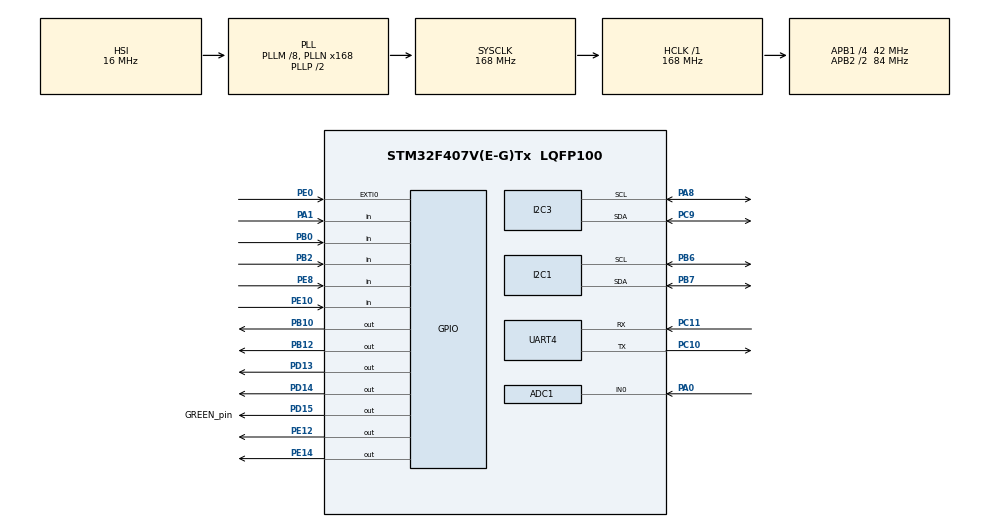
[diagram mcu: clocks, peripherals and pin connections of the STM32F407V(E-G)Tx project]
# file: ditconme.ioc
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ADC1.Channel-0\#ChannelRegularConversion=ADC_CHANNEL_0
ADC1.ContinuousConvMode=ENABLE
ADC1.NbrOfConversionFlag=1
ADC1.Rank-0\#ChannelRegularConversion=1
ADC1.SamplingTime-0\#ChannelRegularConversion=ADC_SAMPLETIME_144CYCLES
ADC1.master=1
Mcu.Family=STM32F4
Mcu.Name=STM32F407V(E-G)Tx
Mcu.Package=LQFP100
NVIC.ADC_IRQn=true\:0\:0\:false\:false\:true\:true\:true
NVIC.EXTI0_IRQn=true\:1\:0\:true\:false\:true\:true\:true
NVIC.PriorityGroup=NVIC_PRIORITYGROUP_4
NVIC.UART4_IRQn=true\:0\:0\:false\:false\:true\:true\:true
PA0-WKUP.Signal=ADCx_IN0
PA1.Signal=GPIO_Input
PA13.Mode=Serial_Wire
PA13.Signal=SYS_JTMS-SWDIO
PA14.Mode=Serial_Wire
PA14.Signal=SYS_JTCK-SWCLK
PA8.Mode=I2C
PA8.Signal=I2C3_SCL
PB0.GPIO_Mode=GPIO_MODE_INPUT
PB0.GPIO_PuPd=GPIO_PULLUP
PB0.Signal=GPIO_Input
PB10.GPIO_ModeDefaultOutputPP=GPIO_MODE_OUTPUT_PP
PB10.GPIO_PuPd=GPIO_NOPULL
PB10.GPIO_Speed=GPIO_SPEED_FREQ_LOW
PB10.PinState=GPIO_PIN_SET
PB10.Signal=GPIO_Output
PB12.GPIO_ModeDefaultOutputPP=GPIO_MODE_OUTPUT_PP
PB12.GPIO_PuPd=GPIO_NOPULL
PB12.GPIO_Speed=GPIO_SPEED_FREQ_LOW
PB12.PinState=GPIO_PIN_SET
PB12.Signal=GPIO_Output
PB2.GPIO_Mode=GPIO_MODE_INPUT
PB2.GPIO_PuPd=GPIO_PULLUP
PB2.Signal=GPIO_Input
PB6.Mode=I2C
PB6.Signal=I2C1_SCL
PB7.Mode=I2C
PB7.Signal=I2C1_SDA
PC10.Mode=Asynchronous
PC10.Signal=UART4_TX
PC11.Mode=Asynchronous
PC11.Signal=UART4_RX
PC9.Mode=I2C
PC9.Signal=I2C3_SDA
PD13.Signal=GPIO_Output
PD14.Signal=GPIO_Output
PD15.GPIO_Label=GREEN_pin
PD15.Signal=GPIO_Output
PE0.Signal=GPXTI0
PE10.GPIO_Mode=GPIO_MODE_INPUT
PE10.GPIO_PuPd=GPIO_PULLUP
PE10.Signal=GPIO_Input
PE12.GPIO_ModeDefaultOutputPP=GPIO_MODE_OUTPUT_PP
PE12.GPIO_PuPd=GPIO_NOPULL
PE12.GPIO_Speed=GPIO_SPEED_FREQ_LOW
PE12.PinState=GPIO_PIN_SET
PE12.Signal=GPIO_Output
PE14.GPIO_ModeDefaultOutputPP=GPIO_MODE_OUTPUT_PP
PE14.GPIO_PuPd=GPIO_NOPULL
PE14.GPIO_Speed=GPIO_SPEED_FREQ_LOW
PE14.PinState=GPIO_PIN_SET
PE14.Signal=GPIO_Output
PE8.GPIO_Mode=GPIO_MODE_INPUT
PE8.GPIO_PuPd=GPIO_PULLUP
PE8.Signal=GPIO_Input
PH0-OSC_IN.Mode=HSE-External-Oscillator
PH0-OSC_IN.Signal=RCC_OSC_IN
PH1-OSC_OUT.Mode=HSE-External-Oscillator
PH1-OSC_OUT.Signal=RCC_OSC_OUT
ProjectManager.HeapSize=0x200
ProjectManager.StackSize=0x400
ProjectManager.TargetToolchain=MDK-ARM V5
RCC.48MHZClocksFreq_Value=84000000
RCC.AHBFreq_Value=168000000
RCC.APB1CLKDivider=RCC_HCLK_DIV4
RCC.APB1Freq_Value=42000000
RCC.APB1TimFreq_Value=84000000
RCC.APB2CLKDivider=RCC_HCLK_DIV2
RCC.APB2Freq_Value=84000000
RCC.APB2TimFreq_Value=168000000
RCC.CortexFreq_Value=168000000
RCC.HCLKFreq_Value=168000000
RCC.HSE_VALUE=8000000
RCC.HSI_VALUE=16000000
RCC.LSE_VALUE=32768
RCC.PLLM=8
RCC.PLLN=168
RCC.SYSCLKFreq_VALUE=168000000
RCC.SYSCLKSource=RCC_SYSCLKSOURCE_PLLCLK
RCC.VCOOutputFreq_Value=336000000
SH.ADCx_IN0.0=ADC1_IN0,IN0
UART4.VirtualMode=Asynchronous
board=custom

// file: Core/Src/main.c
/* USER CODE BEGIN Header */
/**
  ******************************************************************************
  * @file           : main.c
  * @brief          : Main program body
  ******************************************************************************
  * @attention
  *
  * <h2><center>&copy; Copyright (c) 2024 STMicroelectronics.
  * All rights reserved.</center></h2>
  *
  * This software component is licensed by ST under BSD 3-Clause license,
  * the "License"; You may not use this file except in compliance with the
  * License. You may obtain a copy of the License at:
  *                        opensource.org/licenses/BSD-3-Clause
  *
  ******************************************************************************
  */
/* USER CODE END Header */
#include "main.h"

/* USER CODE BEGIN Includes */
#include "stdio.h"
#include "string.h"
#define device_id 0x27<<1
int DHT11_check = 1; // Kiem tra, khoi tao qua trinh doc, setup = 1
uint8_t do_am_byte1, do_am_byte2, temperature_byte1, temperature_byte2; // Luu tru du lieu doc tu DHT11
uint16_t sum; //, temperature, humidity, temperature_sau_dau_phay, humidity_sau_dau_phay; // temperature, humidity co 16 byte theo datasheet
uint8_t test=0; // Bien luu trang thai kiem tra
int temperature, humidity, temperature_sau_dau_phay, humidity_sau_dau_phay;
char lcd_buffer [16];
//int dem=0;
uint8_t check;
uint8_t cnt=0;
// Khai bao cho LCD
uint16_t ADC_val=0;
uint8_t dem=0;
uint8_t dem1=0;
uint8_t dung=0;
uint8_t check=0;
uint8_t check_new=0;
char mang[10];
char matkhau[10] = {1,2,5,4};
char matkhau_moi[10];
volatile uint8_t kiemtra=0;
char hi[30];
/* USER CODE END Includes */

ADC_HandleTypeDef hadc1;

I2C_HandleTypeDef hi2c1;
I2C_HandleTypeDef hi2c3;

UART_HandleTypeDef huart4;

void SystemClock_Config(void);
static void MX_GPIO_Init(void);
static void MX_ADC1_Init(void);
static void MX_I2C1_Init(void);
static void MX_UART4_Init(void);
static void MX_I2C3_Init(void);

/* USER CODE BEGIN 0 */
void delay_us(uint32_t n){
	volatile uint32_t delay = 24*n;
	volatile uint32_t delayy;
	for(delayy=0; delayy<delay; delayy++);
}

void delay_ms(uint32_t n){
	volatile uint32_t delay;
	volatile uint32_t delayy;
//	for(delayy=0; delayy<delay; delay++);

	for(delayy = 0;delayy<n;delayy++){for(volatile uint32_t dl = 0; dl < 24000; dl++);}
}
GPIO_InitTypeDef GPIO_InitStruct;
void Set_pin_out(){
  GPIO_InitStruct.Pin = GPIO_PIN_1;
  GPIO_InitStruct.Mode = GPIO_MODE_OUTPUT_PP;
	GPIO_InitStruct.Speed = GPIO_SPEED_FREQ_LOW;
  HAL_GPIO_Init(GPIOA, &GPIO_InitStruct);
}
void Set_pin_in(){
  GPIO_InitStruct.Pin = GPIO_PIN_1;
  GPIO_InitStruct.Mode = GPIO_MODE_INPUT;
  GPIO_InitStruct.Pull = GPIO_NOPULL;
  HAL_GPIO_Init(GPIOA, &GPIO_InitStruct);
}
void DHT11_start(void){
	Set_pin_out();
	HAL_GPIO_WritePin(GPIOA,GPIO_PIN_1,0); //Dua tin hieu xg muc thap
	delay_ms(18);
	Set_pin_in();
}
void check_reponse(void){
	test=0;
	delay_us(40);
	if(HAL_GPIO_ReadPin(GPIOA,GPIO_PIN_1) == 0){
		delay_us(80);
		if(HAL_GPIO_ReadPin(GPIOA,GPIO_PIN_1) == 1){
			test=1;
		}
	}
	while(HAL_GPIO_ReadPin(GPIOA,GPIO_PIN_1) == 1); // Cho tin hieu ve muc thap
}
uint8_t read_data ()
{
	uint8_t i=0,j;
	for (j=0;j<8;j++)
	{
		while ((HAL_GPIO_ReadPin (GPIOA, GPIO_PIN_1)) == 0);   // Cho muc cao
		delay_us (40);
//		if ((HAL_GPIO_ReadPin (GPIOA, GPIO_PIN_1)) == 0)
//		{
//			i&= ~(1<<(7-j));
//		}
//		else i|= (1<<(7-j));  // Neu pin cao thi set 1,
		if ((HAL_GPIO_ReadPin (GPIOA, GPIO_PIN_1)) == 1){
			i|= (1<<(7-j));
		}
		while ((HAL_GPIO_ReadPin (GPIOA, GPIO_PIN_1)));  //
	}
	return i;
}

// Code cho LCD i2c

void lcd_i2c_send_cmd(uint8_t data){
	// 1011 1100 : 1011 1000 -> (data&0xf0)|0x0c ; (data&0xf0)|0x08; 1100 1100-> (data<<4)|0x0c
	uint8_t buf[4] = {(data&0xf0)|0x0c , (data&0xf0)|0x08, (data<<4)|0x0c, (data<<4)|0x08};
	HAL_I2C_Master_Transmit(&hi2c1,device_id,buf,sizeof(buf), 10);
	HAL_I2C_Master_Transmit(&hi2c3,device_id,buf,sizeof(buf), 10);
}
void lcd_i2c_send_cmd1(uint8_t data){
	// 1011 1100 : 1011 1000 -> (data&0xf0)|0x0c ; (data&0xf0)|0x08; 1100 1100-> (data<<4)|0x0c
	uint8_t buf[4] = {(data&0xf0)|0x0c , (data&0xf0)|0x08, (data<<4)|0x0c, (data<<4)|0x08};
	HAL_I2C_Master_Transmit(&hi2c3,device_id,buf,sizeof(buf), 10);
}

void lcd_init(){
	lcd_i2c_send_cmd(0x33);
	lcd_i2c_send_cmd(0x32);
	lcd_i2c_send_cmd(0x28);
	lcd_i2c_send_cmd(0x0c);
	lcd_i2c_send_cmd(0x06);
	lcd_i2c_send_cmd(0x01); // Day la lenh xoa man hinh
	//lcd_i2c_send_cmd(0x08); // Bat sang LCD
	lcd_i2c_send_cmd1(0x33);
	lcd_i2c_send_cmd1(0x32);
	lcd_i2c_send_cmd1(0x28);
	lcd_i2c_send_cmd1(0x0c);
	lcd_i2c_send_cmd1(0x06);
	lcd_i2c_send_cmd1(0x01);
	delay_ms(15);
}

void lcd_i2c_send_data(uint8_t data){
	uint8_t buf[4] = {(data & 0xF0) | 0x0D, (data & 0xF0) | 0x09, (data << 4) | 0x0D, (data << 4) | 0x09};
	HAL_I2C_Master_Transmit(&hi2c1, device_id, buf, sizeof(buf), 10);
	delay_ms(2);
}

void lcd_i2c_send_data1(uint8_t data){
	uint8_t buf[4] = {(data & 0xF0) | 0x0D, (data & 0xF0) | 0x09, (data << 4) | 0x0D, (data << 4) | 0x09};
	HAL_I2C_Master_Transmit(&hi2c3,device_id,buf,sizeof(buf), 10);
	delay_ms(2);
}

void lcd_i2c_clear(){
	lcd_i2c_send_cmd(0x01);
	delay_ms(5);
}

void lcd_i2c_clear1(){
	lcd_i2c_send_cmd1(0x01);
	delay_ms(5);
}

void lcd_i2c_set_cs(int x, int y){
	if(x==0){
		lcd_i2c_send_cmd(0x80 + y);
	}else
	if(x==1){
		lcd_i2c_send_cmd(0xC0 + y);
	}
}

void lcd_i2c_set_cs1(int x, int y){
	if(x==0){
		lcd_i2c_send_cmd1(0x80 + y);
	}else
	if(x==1){
		lcd_i2c_send_cmd1(0xC0 + y);
	}
}

void lcd_i2c_send_string(char *string){
	for(int i=0; i<strlen(string); i++){
		lcd_i2c_send_data(string[i]);
	}
}

void lcd_i2c_send_string1(char *string){
	for(int i=0; i<strlen(string); i++){
		lcd_i2c_send_data1(string[i]);
	}
}

void lcd_i2c_send_num(int num){
	char buff[8];
	sprintf(buff, "%d", num);
	lcd_i2c_send_string(buff);
}

void lcd_i2c_send_num1(int num){
	char buff[8];
	sprintf(buff, "%d", num);
	lcd_i2c_send_string1(buff);
}

void lcd_i2c_backlight_on() {
    uint8_t data = 0x08; // B?t backlight
    HAL_I2C_Master_Transmit(&hi2c1, device_id, &data, 1, 10);
}

void lcd_i2c_backlight_off() {
    uint8_t data = 0x00; // B?t backlight
    HAL_I2C_Master_Transmit(&hi2c1, device_id, &data, 1, 10);
}

// KEYPAD

void kiemtra_matkhau(void);
void doi_matkhau(void);
void test_keypad(){
	HAL_GPIO_WritePin(GPIOE, GPIO_PIN_12, GPIO_PIN_RESET);
	// Kiem tra cot 1
	if(HAL_GPIO_ReadPin(GPIOB, GPIO_PIN_0) == 0){
		HAL_Delay(10);
		while(HAL_GPIO_ReadPin(GPIOB, GPIO_PIN_0) == 0);
		mang[dem]=1;
		sprintf(hi, "%d", mang[dem]);
		lcd_i2c_set_cs(0,dem);
		lcd_i2c_send_string1(hi);
		dem++;
	}
	if(HAL_GPIO_ReadPin(GPIOB, GPIO_PIN_2) == 0){
		HAL_Delay(10);
		while(HAL_GPIO_ReadPin(GPIOB, GPIO_PIN_2) == 0);
		mang[dem]=4;
		sprintf(hi, "%d", mang[dem]);
		lcd_i2c_set_cs(0,dem);
		lcd_i2c_send_string1(hi);
		dem++;
	}
	if(HAL_GPIO_ReadPin(GPIOE, GPIO_PIN_8) == 0){
		HAL_Delay(10);
		while(HAL_GPIO_ReadPin(GPIOE, GPIO_PIN_8) == 0);
		mang[dem]=7;
		sprintf(hi, "%d", mang[dem]);
		lcd_i2c_set_cs(0,dem);
		lcd_i2c_send_string1(hi);
		dem++;
	}
	if(HAL_GPIO_ReadPin(GPIOE, GPIO_PIN_10) == 0){
		HAL_Delay(10);
		while(HAL_GPIO_ReadPin(GPIOE, GPIO_PIN_10) == 0);
		if (dem > 0) {
			dem--;
      mang[dem] = '\0';  // Xóa ký t? cu?i trong m?ng

//            HD44780_SetCursor(dem, 1);  // Di chuy?n con tr?
//            HD44780_PrintStr(" ");  // Xóa ký t? trên màn hình
//            HD44780_SetCursor(dem, 1);  // Ð?t con tr? l?i
			lcd_i2c_set_cs1(0,dem);
			lcd_i2c_send_string1(" ");
			lcd_i2c_set_cs1(0,dem);
     }
	}
	HAL_GPIO_WritePin(GPIOE, GPIO_PIN_12, 1);

	// Kiem tra cot 2
	HAL_GPIO_WritePin(GPIOE, GPIO_PIN_14, 0);
	if(HAL_GPIO_ReadPin(GPIOB, GPIO_PIN_0) == 0){
		HAL_Delay(10);
		while(HAL_GPIO_ReadPin(GPIOB, GPIO_PIN_0) == 0);
		mang[dem]=2;
		sprintf(hi, "%d", mang[dem]);
		lcd_i2c_set_cs(0,dem);
		lcd_i2c_send_string1(hi);
		dem++;
	}
	if(HAL_GPIO_ReadPin(GPIOB, GPIO_PIN_2) == 0){
		HAL_Delay(10);
		while(HAL_GPIO_ReadPin(GPIOB, GPIO_PIN_2) == 0);
		mang[dem]=5;
		sprintf(hi, "%d", mang[dem]);
		lcd_i2c_set_cs(0,dem);
		lcd_i2c_send_string1(hi);
		dem++;
	}
	if(HAL_GPIO_ReadPin(GPIOE, GPIO_PIN_8) == 0){
		HAL_Delay(10);
		while(HAL_GPIO_ReadPin(GPIOE, GPIO_PIN_8) == 0);
		mang[dem]=8;
		sprintf(hi, "%d", mang[dem]);
		lcd_i2c_set_cs(0,dem);
		lcd_i2c_send_string1(hi);
		dem++;
	}
	if(HAL_GPIO_ReadPin(GPIOE, GPIO_PIN_10) == 0){
		HAL_Delay(10);
		while(HAL_GPIO_ReadPin(GPIOE, GPIO_PIN_8) == 0);
		mang[dem]=0;
		sprintf(hi, "%d", mang[dem]);
		lcd_i2c_set_cs(0,dem);
		lcd_i2c_send_string1(hi);
		dem++;
	}
	HAL_GPIO_WritePin(GPIOE, GPIO_PIN_14, 1);

	// Kiem tra cot 3
	HAL_GPIO_WritePin(GPIOB, GPIO_PIN_10, 0);
	if(HAL_GPIO_ReadPin(GPIOB, GPIO_PIN_0) == 0){
		HAL_Delay(10);
		while(HAL_GPIO_ReadPin(GPIOB, GPIO_PIN_0) == 0);
		mang[dem]=3;
		sprintf(hi, "%d", mang[dem]);
		lcd_i2c_set_cs(0,dem);
		lcd_i2c_send_string1(hi);
		dem++;
	}
	if(HAL_GPIO_ReadPin(GPIOB, GPIO_PIN_2) == 0){
		HAL_Delay(10);
		while(HAL_GPIO_ReadPin(GPIOB, GPIO_PIN_2) == 0);
		mang[dem]=6;
		sprintf(hi, "%d", mang[dem]);
		lcd_i2c_set_cs(0,dem);
		lcd_i2c_send_string1(hi);
		dem++;
	}
	if(HAL_GPIO_ReadPin(GPIOE, GPIO_PIN_8) == 0){
		HAL_Delay(10);
		while(HAL_GPIO_ReadPin(GPIOE, GPIO_PIN_8) == 0);
		mang[dem]=9;
		sprintf(hi, "%d", mang[dem]);
		lcd_i2c_set_cs(0,dem);
		lcd_i2c_send_string1(hi);
		dem++;
	}
	if(HAL_GPIO_ReadPin(GPIOE, GPIO_PIN_10) == 0){
		HAL_Delay(10);
		while(HAL_GPIO_ReadPin(GPIOE, GPIO_PIN_8) == 0);
		kiemtra_matkhau();
	}
	HAL_GPIO_WritePin(GPIOB, GPIO_PIN_10, 1);

	// Kiem tra cot 4
	HAL_GPIO_WritePin(GPIOE, GPIO_PIN_12, 0);
	if(HAL_GPIO_ReadPin(GPIOB, GPIO_PIN_10) == 0){
		HAL_Delay(10);
		while(HAL_GPIO_ReadPin(GPIOB, GPIO_PIN_10) == 0);
		doi_matkhau();
	}

}

void kiemtra_matkhau(){
    check = 0;
    char vc[20];
    lcd_i2c_clear();

    if (kiemtra <= 3) {
        for (int i = 0; i < 10; i++) {
            if (mang[i] != matkhau[i]) {
                check++;
                break;
            }
        }
        if (check != 0) {
            kiemtra++;
						lcd_i2c_set_cs1(0,0);
						lcd_i2c_send_string1("Sai mat khau");
            sprintf(vc, "Ban con %d co hoi", 4 - kiemtra);
						lcd_i2c_set_cs1(0,1);
						lcd_i2c_send_string1(vc);
            HAL_GPIO_WritePin(GPIOD,GPIO_PIN_14,GPIO_PIN_RESET);
            dem = 0;
            memset(mang, 0, sizeof(mang));
            HAL_Delay(200);
						lcd_i2c_clear1();
						lcd_i2c_set_cs1(0,0);
						lcd_i2c_send_string1("Nhap lai mat khau");
						delay_ms(100);
						lcd_i2c_clear();
        } else {
            kiemtra = 0;
						lcd_i2c_clear1();
						lcd_i2c_set_cs1(0,0);
						lcd_i2c_send_string1("Dung mat khau");

            dem = 0;
            memset(mang, 0, sizeof(mang));

            delay_ms(200);  // Hi?n th? thông báo m?t lúc tru?c khi xóa
						lcd_i2c_clear1();
						lcd_i2c_set_cs1(0,0);
						lcd_i2c_send_string1("OPEN THE DOOR");
            delay_ms(100);
						HAL_GPIO_WritePin(GPIOD,GPIO_PIN_14,GPIO_PIN_SET);
						lcd_i2c_set_cs1(1, 1);
						lcd_i2c_send_string1("     WELCOME     ");
						delay_ms(1200);
						lcd_i2c_clear();
        }
    }
}

void doi_matkhau(){

	dem=0;
	memset(mang, 0, sizeof(mang));
	kiemtra_matkhau();
	for(int i=0;i<10;i++){
		matkhau[i] = mang[i];
	}
}

/* USER CODE END 0 */

int main(void)
{

  /* MCU Configuration--------------------------------------------------------*/

  /* Reset of all peripherals, Initializes the Flash interface and the Systick. */
  HAL_Init();

  /* Configure the system clock */
  SystemClock_Config();

  /* Initialize all configured peripherals */
  MX_GPIO_Init();
  MX_ADC1_Init();
  MX_I2C1_Init();
  MX_UART4_Init();
  MX_I2C3_Init();
  /* USER CODE BEGIN 2 */
	HAL_GPIO_WritePin(GPIOD, GPIO_PIN_13, 0);
	char buffer[100],buffer_1[50], buffer_t[17], buffer_h[17];
	lcd_init();
	lcd_i2c_set_cs(0,0);
	lcd_i2c_send_string("HELLO WORLD");
	lcd_i2c_clear();
  /* USER CODE END 2 */

  /* Infinite loop */
  /* USER CODE BEGIN WHILE */
  while (1)
  {
		HAL_GPIO_WritePin(GPIOD, GPIO_PIN_13, 0);
		test_keypad();
		if(DHT11_check==1){
			DHT11_start();
			check_reponse();
			do_am_byte1 = read_data();
			do_am_byte2 = read_data();
			temperature_byte1 = read_data();
			temperature_byte2 = read_data();
			temperature = temperature_byte1;
			temperature_sau_dau_phay = temperature_byte2;
			humidity = do_am_byte1;
			humidity_sau_dau_phay = do_am_byte2;
			sum = read_data();
//			lcd_i2c_clear();
			lcd_i2c_set_cs(0,0);
			sprintf(buffer,"Temp: %d.%d",temperature,temperature_sau_dau_phay);
			lcd_i2c_send_string(buffer);
			sprintf(buffer_t,"%d.%d",temperature,temperature_sau_dau_phay);
			HAL_UART_Transmit(&huart4,(uint8_t *)buffer_t,sizeof(buffer_t),50);
			delay_ms(200);
			lcd_i2c_set_cs(1,0);
			sprintf(buffer_1,"humidity: %d.%d",humidity,humidity_sau_dau_phay);
			lcd_i2c_send_string(buffer_1);
			sprintf(buffer_h,"%d.%d",humidity,humidity_sau_dau_phay);
			HAL_UART_Transmit(&huart4,(uint8_t *)buffer_h,sizeof(buffer_h),50);
			delay_ms(200);
		}
		DHT11_check++;
		if(DHT11_check == 5){
			DHT11_check = 1;
		}
		//Code cam bien quang tro
		HAL_ADC_Start(&hadc1);
		HAL_ADC_PollForConversion(&hadc1, 30);
		ADC_val = HAL_ADC_GetValue(&hadc1);
		HAL_ADC_Stop(&hadc1);
		HAL_GPIO_TogglePin(GPIOD, GREEN_pin_Pin);
		delay_ms(50);
	}
}

    /* USER CODE END WHILE */

    /* USER CODE BEGIN 3 */
void HAL_GPIO_EXTI_Callback(uint16_t GPIO_Pin)
{
  if(GPIO_Pin == GPIO_PIN_0){
		delay_ms(200);
		cnt++;
		HAL_GPIO_WritePin(GPIOD, GPIO_PIN_13, 1);
	}

  /* USER CODE END 3 */
}

void SystemClock_Config(void)
{
  RCC_OscInitTypeDef RCC_OscInitStruct = {0};
  RCC_ClkInitTypeDef RCC_ClkInitStruct = {0};

  /** Configure the main internal regulator output voltage
  */
  __HAL_RCC_PWR_CLK_ENABLE();
  __HAL_PWR_VOLTAGESCALING_CONFIG(PWR_REGULATOR_VOLTAGE_SCALE1);
  /** Initializes the RCC Oscillators according to the specified parameters
  * in the RCC_OscInitTypeDef structure.
  */
  RCC_OscInitStruct.OscillatorType = RCC_OSCILLATORTYPE_HSI;
  RCC_OscInitStruct.HSIState = RCC_HSI_ON;
  RCC_OscInitStruct.HSICalibrationValue = RCC_HSICALIBRATION_DEFAULT;
  RCC_OscInitStruct.PLL.PLLState = RCC_PLL_ON;
  RCC_OscInitStruct.PLL.PLLSource = RCC_PLLSOURCE_HSI;
  RCC_OscInitStruct.PLL.PLLM = 8;
  RCC_OscInitStruct.PLL.PLLN = 168;
  RCC_OscInitStruct.PLL.PLLP = RCC_PLLP_DIV2;
  RCC_OscInitStruct.PLL.PLLQ = 4;
  if (HAL_RCC_OscConfig(&RCC_OscInitStruct) != HAL_OK)
  {
    Error_Handler();
  }
  /** Initializes the CPU, AHB and APB buses clocks
  */
  RCC_ClkInitStruct.ClockType = RCC_CLOCKTYPE_HCLK|RCC_CLOCKTYPE_SYSCLK
                              |RCC_CLOCKTYPE_PCLK1|RCC_CLOCKTYPE_PCLK2;
  RCC_ClkInitStruct.SYSCLKSource = RCC_SYSCLKSOURCE_PLLCLK;
  RCC_ClkInitStruct.AHBCLKDivider = RCC_SYSCLK_DIV1;
  RCC_ClkInitStruct.APB1CLKDivider = RCC_HCLK_DIV4;
  RCC_ClkInitStruct.APB2CLKDivider = RCC_HCLK_DIV2;

  if (HAL_RCC_ClockConfig(&RCC_ClkInitStruct, FLASH_LATENCY_5) != HAL_OK)
  {
    Error_Handler();
  }
}

static void MX_ADC1_Init(void)
{

  ADC_ChannelConfTypeDef sConfig = {0};

  /** Configure the global features of the ADC (Clock, Resolution, Data Alignment and number of conversion)
  */
  hadc1.Instance = ADC1;
  hadc1.Init.ClockPrescaler = ADC_CLOCK_SYNC_PCLK_DIV4;
  hadc1.Init.Resolution = ADC_RESOLUTION_12B;
  hadc1.Init.ScanConvMode = DISABLE;
  hadc1.Init.ContinuousConvMode = ENABLE;
  hadc1.Init.DiscontinuousConvMode = DISABLE;
  hadc1.Init.ExternalTrigConvEdge = ADC_EXTERNALTRIGCONVEDGE_NONE;
  hadc1.Init.ExternalTrigConv = ADC_SOFTWARE_START;
  hadc1.Init.DataAlign = ADC_DATAALIGN_RIGHT;
  hadc1.Init.NbrOfConversion = 1;
  hadc1.Init.DMAContinuousRequests = DISABLE;
  hadc1.Init.EOCSelection = ADC_EOC_SINGLE_CONV;
  if (HAL_ADC_Init(&hadc1) != HAL_OK)
  {
    Error_Handler();
  }
  /** Configure for the selected ADC regular channel its corresponding rank in the sequencer and its sample time.
  */
  sConfig.Channel = ADC_CHANNEL_0;
  sConfig.Rank = 1;
  sConfig.SamplingTime = ADC_SAMPLETIME_144CYCLES;
  if (HAL_ADC_ConfigChannel(&hadc1, &sConfig) != HAL_OK)
  {
    Error_Handler();
  }

}

static void MX_I2C1_Init(void)
{

  hi2c1.Instance = I2C1;
  hi2c1.Init.ClockSpeed = 100000;
  hi2c1.Init.DutyCycle = I2C_DUTYCYCLE_2;
  hi2c1.Init.OwnAddress1 = 0;
  hi2c1.Init.AddressingMode = I2C_ADDRESSINGMODE_7BIT;
  hi2c1.Init.DualAddressMode = I2C_DUALADDRESS_DISABLE;
  hi2c1.Init.OwnAddress2 = 0;
  hi2c1.Init.GeneralCallMode = I2C_GENERALCALL_DISABLE;
  hi2c1.Init.NoStretchMode = I2C_NOSTRETCH_DISABLE;
  if (HAL_I2C_Init(&hi2c1) != HAL_OK)
  {
    Error_Handler();
  }

}

static void MX_I2C3_Init(void)
{

  hi2c3.Instance = I2C3;
  hi2c3.Init.ClockSpeed = 100000;
  hi2c3.Init.DutyCycle = I2C_DUTYCYCLE_2;
  hi2c3.Init.OwnAddress1 = 0;
  hi2c3.Init.AddressingMode = I2C_ADDRESSINGMODE_7BIT;
  hi2c3.Init.DualAddressMode = I2C_DUALADDRESS_DISABLE;
  hi2c3.Init.OwnAddress2 = 0;
  hi2c3.Init.GeneralCallMode = I2C_GENERALCALL_DISABLE;
  hi2c3.Init.NoStretchMode = I2C_NOSTRETCH_DISABLE;
  if (HAL_I2C_Init(&hi2c3) != HAL_OK)
  {
    Error_Handler();
  }

}

static void MX_UART4_Init(void)
{

  huart4.Instance = UART4;
  huart4.Init.BaudRate = 115200;
  huart4.Init.WordLength = UART_WORDLENGTH_8B;
  huart4.Init.StopBits = UART_STOPBITS_1;
  huart4.Init.Parity = UART_PARITY_NONE;
  huart4.Init.Mode = UART_MODE_TX_RX;
  huart4.Init.HwFlowCtl = UART_HWCONTROL_NONE;
  huart4.Init.OverSampling = UART_OVERSAMPLING_16;
  if (HAL_UART_Init(&huart4) != HAL_OK)
  {
    Error_Handler();
  }

}

static void MX_GPIO_Init(void)
{
  GPIO_InitTypeDef GPIO_InitStruct = {0};

  /* GPIO Ports Clock Enable */
  __HAL_RCC_GPIOH_CLK_ENABLE();
  __HAL_RCC_GPIOA_CLK_ENABLE();
  __HAL_RCC_GPIOB_CLK_ENABLE();
  __HAL_RCC_GPIOE_CLK_ENABLE();
  __HAL_RCC_GPIOD_CLK_ENABLE();
  __HAL_RCC_GPIOC_CLK_ENABLE();

  /*Configure GPIO pin Output Level */
  HAL_GPIO_WritePin(GPIOE, GPIO_PIN_12|GPIO_PIN_14, GPIO_PIN_SET);

  /*Configure GPIO pin Output Level */
  HAL_GPIO_WritePin(GPIOB, GPIO_PIN_10|GPIO_PIN_12, GPIO_PIN_SET);

  /*Configure GPIO pin Output Level */
  HAL_GPIO_WritePin(GPIOD, GPIO_PIN_13|GPIO_PIN_14|GREEN_pin_Pin, GPIO_PIN_RESET);

  /*Configure GPIO pin : PA1 */
  GPIO_InitStruct.Pin = GPIO_PIN_1;
  GPIO_InitStruct.Mode = GPIO_MODE_INPUT;
  GPIO_InitStruct.Pull = GPIO_NOPULL;
  HAL_GPIO_Init(GPIOA, &GPIO_InitStruct);

  /*Configure GPIO pins : PB0 PB2 */
  GPIO_InitStruct.Pin = GPIO_PIN_0|GPIO_PIN_2;
  GPIO_InitStruct.Mode = GPIO_MODE_INPUT;
  GPIO_InitStruct.Pull = GPIO_PULLUP;
  HAL_GPIO_Init(GPIOB, &GPIO_InitStruct);

  /*Configure GPIO pins : PE8 PE10 */
  GPIO_InitStruct.Pin = GPIO_PIN_8|GPIO_PIN_10;
  GPIO_InitStruct.Mode = GPIO_MODE_INPUT;
  GPIO_InitStruct.Pull = GPIO_PULLUP;
  HAL_GPIO_Init(GPIOE, &GPIO_InitStruct);

  /*Configure GPIO pins : PE12 PE14 */
  GPIO_InitStruct.Pin = GPIO_PIN_12|GPIO_PIN_14;
  GPIO_InitStruct.Mode = GPIO_MODE_OUTPUT_PP;
  GPIO_InitStruct.Pull = GPIO_NOPULL;
  GPIO_InitStruct.Speed = GPIO_SPEED_FREQ_LOW;
  HAL_GPIO_Init(GPIOE, &GPIO_InitStruct);

  /*Configure GPIO pins : PB10 PB12 */
  GPIO_InitStruct.Pin = GPIO_PIN_10|GPIO_PIN_12;
  GPIO_InitStruct.Mode = GPIO_MODE_OUTPUT_PP;
  GPIO_InitStruct.Pull = GPIO_NOPULL;
  GPIO_InitStruct.Speed = GPIO_SPEED_FREQ_LOW;
  HAL_GPIO_Init(GPIOB, &GPIO_InitStruct);

  /*Configure GPIO pins : PD13 PD14 GREEN_pin_Pin */
  GPIO_InitStruct.Pin = GPIO_PIN_13|GPIO_PIN_14|GREEN_pin_Pin;
  GPIO_InitStruct.Mode = GPIO_MODE_OUTPUT_PP;
  GPIO_InitStruct.Pull = GPIO_NOPULL;
  GPIO_InitStruct.Speed = GPIO_SPEED_FREQ_LOW;
  HAL_GPIO_Init(GPIOD, &GPIO_InitStruct);

  /*Configure GPIO pin : PE0 */
  GPIO_InitStruct.Pin = GPIO_PIN_0;
  GPIO_InitStruct.Mode = GPIO_MODE_IT_RISING;
  GPIO_InitStruct.Pull = GPIO_NOPULL;
  HAL_GPIO_Init(GPIOE, &GPIO_InitStruct);

  /* EXTI interrupt init*/
  HAL_NVIC_SetPriority(EXTI0_IRQn, 1, 0);
  HAL_NVIC_EnableIRQ(EXTI0_IRQn);

}

void Error_Handler(void)
{
}

/************************ (C) COPYRIGHT STMicroelectronics *****END OF FILE****/
